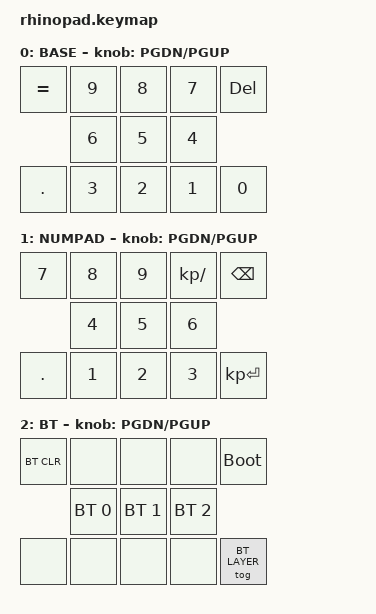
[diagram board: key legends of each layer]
#include <behaviors.dtsi>
#include <dt-bindings/zmk/keys.h>
#include <dt-bindings/zmk/bt.h>

/* Layer indices */
#define BASE      0
#define NUMPAD    1
#define BT_LAYER  2

/ {
    behaviors {
        /* Encoder: click toggles NUMPAD; rotate = scroll left/right */
        enc_toggle_layers: behavior_key_press {
            compatible = "zmk,behavior-key-press";
            label = "ENC_TGL";
            #binding-cells = <0>;
            bindings = <&tog NUMPAD>;
        };

        enc_scroll: behavior_sensor_rotate_kp {
            compatible = "zmk,behavior-sensor-rotate-var";
            label = "ENC_SCROLL";
            #sensor-binding-cells = <2>;
            bindings = <&kp>, <&kp>;
        };
    };

    keymap {
        compatible = "zmk,keymap";

        /***************
         * LAYER 0 — BASE
         *
         * Top:    =   9   8   7   Del
         * Mid:        6   5   4
         * Bottom: .   3   2   1   0
         ***************/
        base_layer {
            label = "BASE";

            bindings = <
                &kp EQUAL  &kp N9  &kp N8  &kp N7  &kp DEL
                            &kp N6  &kp N5  &kp N4
                &kp DOT    &kp N3  &kp N2  &kp N1  &kp N0
            >;

            sensor-bindings = <&enc_scroll PGDN PGUP>;
        };

        /***************
         * LAYER 1 — NUMPAD
         ***************/
        numpad_layer {
            label = "NUMPAD";

            bindings = <
                &kp N7   &kp N8   &kp N9   &kp KP_SLASH  &kp BSPC
                           &kp N4   &kp N5   &kp N6
                &kp DOT &kp N1   &kp N2   &kp N3        &kp KP_ENTER
            >;

            sensor-bindings = <&enc_scroll PGDN PGUP>;
        };

        /***************
         * LAYER 2 — BLUETOOTH / RESET
         ***************/
        bt_layer {
            label = "BT";

            bindings = <
                &bt BT_CLR   &none       &none       &none       &bootloader
                              &bt BT_SEL 0 &bt BT_SEL 1 &bt BT_SEL 2
                &none        &none       &none       &none       &tog BT_LAYER
            >;

            sensor-bindings = <&enc_scroll PGDN PGUP>;
        };
    };

    /* Map encoder click to toggle layers */
    &encoder_click {
        bindings = <&enc_toggle_layers>;
    }
};

